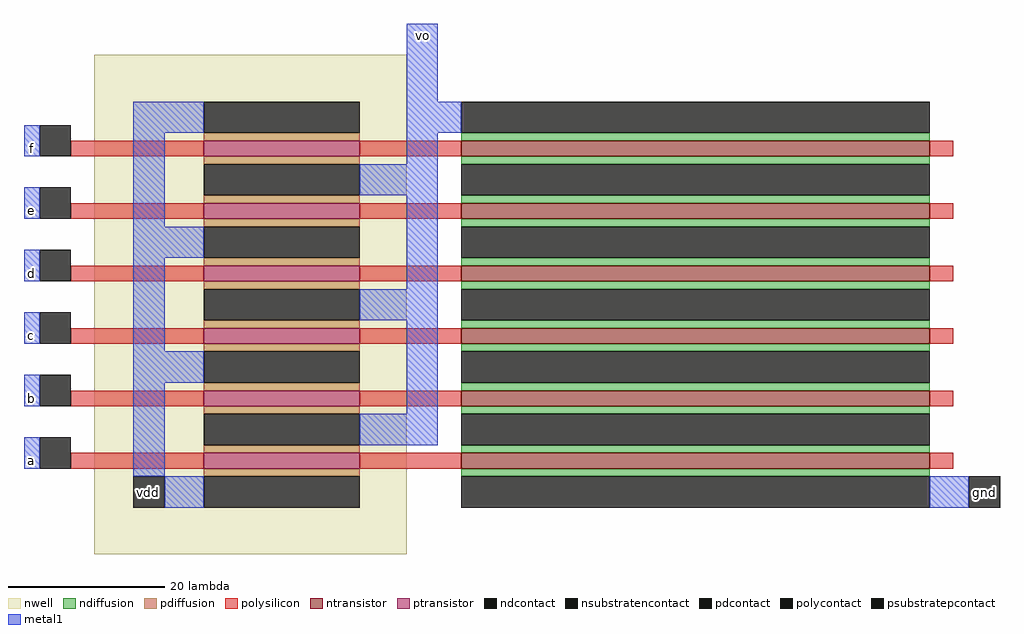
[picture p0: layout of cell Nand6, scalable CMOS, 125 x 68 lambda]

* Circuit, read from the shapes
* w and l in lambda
.subckt Nand6 a b c d e f gnd vdd vo
M1 n1 a gnd gnd nfet w=60 l=2
M2 n2 b n1 gnd nfet w=60 l=2
M3 n3 c n2 gnd nfet w=60 l=2
M4 n4 d n3 gnd nfet w=60 l=2
M5 n5 e n4 gnd nfet w=60 l=2
M6 vo f n5 gnd nfet w=60 l=2
M7 vo a vdd vdd pfet w=20 l=2
M8 vdd b vo vdd pfet w=20 l=2
M9 vo c vdd vdd pfet w=20 l=2
M10 vdd d vo vdd pfet w=20 l=2
M11 vo e vdd vdd pfet w=20 l=2
M12 vdd f vo vdd pfet w=20 l=2
.ends

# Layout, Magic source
magic
tech scmos
<< nwell >>
rect 9 -76 49 -12
<< ntransistor >>
rect 56 -25 116 -23
rect 56 -33 116 -31
rect 56 -41 116 -39
rect 56 -49 116 -47
rect 56 -57 116 -55
rect 56 -65 116 -63
<< ptransistor >>
rect 23 -25 43 -23
rect 23 -33 43 -31
rect 23 -41 43 -39
rect 23 -49 43 -47
rect 23 -57 43 -55
rect 23 -65 43 -63
<< ndiffusion >>
rect 56 -23 116 -22
rect 56 -26 116 -25
rect 56 -31 116 -30
rect 56 -34 116 -33
rect 56 -39 116 -38
rect 56 -42 116 -41
rect 56 -47 116 -46
rect 56 -50 116 -49
rect 56 -55 116 -54
rect 56 -58 116 -57
rect 56 -63 116 -62
rect 56 -66 116 -65
<< pdiffusion >>
rect 23 -23 43 -22
rect 23 -26 43 -25
rect 23 -31 43 -30
rect 23 -34 43 -33
rect 23 -39 43 -38
rect 23 -42 43 -41
rect 23 -47 43 -46
rect 23 -50 43 -49
rect 23 -55 43 -54
rect 23 -58 43 -57
rect 23 -63 43 -62
rect 23 -66 43 -65
<< ndcontact >>
rect 56 -22 116 -18
rect 56 -30 116 -26
rect 56 -38 116 -34
rect 56 -46 116 -42
rect 56 -54 116 -50
rect 56 -62 116 -58
rect 56 -70 116 -66
<< pdcontact >>
rect 23 -22 43 -18
rect 23 -30 43 -26
rect 23 -38 43 -34
rect 23 -46 43 -42
rect 23 -54 43 -50
rect 23 -62 43 -58
rect 23 -70 43 -66
<< psubstratepcontact >>
rect 121 -70 125 -66
<< nsubstratencontact >>
rect 14 -70 18 -66
<< polysilicon >>
rect 6 -25 23 -23
rect 43 -25 56 -23
rect 116 -25 119 -23
rect 6 -33 23 -31
rect 43 -33 56 -31
rect 116 -33 119 -31
rect 6 -41 23 -39
rect 43 -41 56 -39
rect 116 -41 119 -39
rect 6 -49 23 -47
rect 43 -49 56 -47
rect 116 -49 119 -47
rect 6 -57 23 -55
rect 43 -57 56 -55
rect 116 -57 119 -55
rect 6 -65 23 -63
rect 43 -65 56 -63
rect 116 -65 119 -63
<< polycontact >>
rect 2 -25 6 -21
rect 2 -33 6 -29
rect 2 -41 6 -37
rect 2 -49 6 -45
rect 2 -57 6 -53
rect 2 -65 6 -61
<< metal1 >>
rect 49 -18 53 -8
rect 0 -25 2 -21
rect 14 -22 23 -18
rect 49 -22 56 -18
rect 0 -33 2 -29
rect 14 -34 18 -22
rect 49 -26 53 -22
rect 43 -30 53 -26
rect 0 -41 2 -37
rect 14 -38 23 -34
rect 0 -49 2 -45
rect 14 -50 18 -38
rect 49 -42 53 -30
rect 43 -46 53 -42
rect 0 -57 2 -53
rect 14 -54 23 -50
rect 0 -65 2 -61
rect 14 -66 18 -54
rect 49 -58 53 -46
rect 43 -62 53 -58
rect 18 -70 23 -66
rect 116 -70 121 -66
<< labels >>
rlabel metal1 0 -65 2 -63 3 a
rlabel metal1 0 -57 2 -55 3 b
rlabel metal1 0 -49 2 -47 3 c
rlabel metal1 0 -41 2 -39 3 d
rlabel metal1 0 -33 2 -31 3 e
rlabel metal1 0 -25 2 -23 3 f
rlabel psubstratepcontact 121 -70 125 -66 7 gnd
rlabel nsubstratencontact 14 -70 18 -66 7 vdd
rlabel metal1 49 -11 53 -8 5 vo
<< end >>
